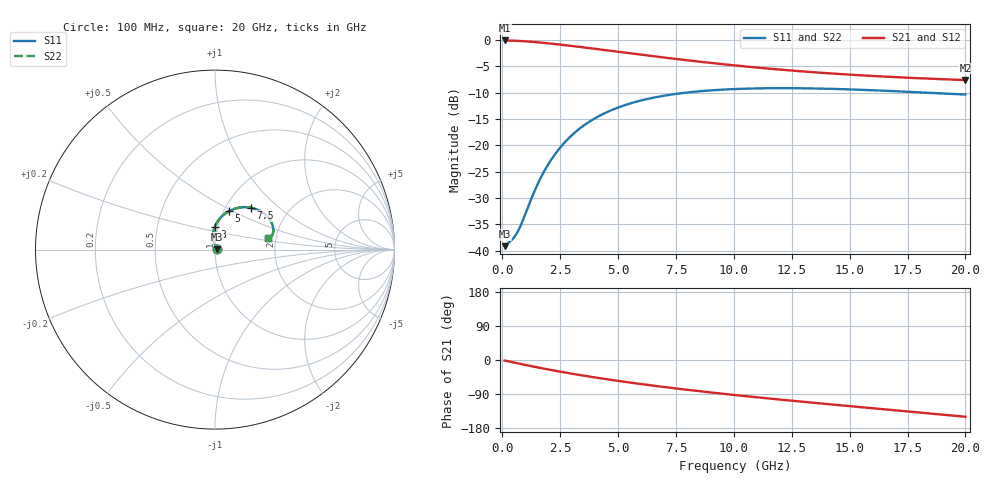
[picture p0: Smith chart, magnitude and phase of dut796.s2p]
! Touchstone file exported from HFSS 2024.1.0
!  File:  C:/UserFiles/LocalFiles/RDL_TSV_Batchsim/temp_RDL_TSV_796_1779909325.aedt
!  Generated:  03:33:14 AM May 28, 2026
!  Design:  RDL_TSV
!  Project:  temp_RDL_TSV_796_1779909325
!  Setup:  Setup1
!  Solution:  Sweep
! Variables:
!  dtsv = 6.59um
!  hbump = 3um
!  htsv = 90.67um
!  ldown = 485.8um
!  lrdl = 104.62um
!  p = 40
!  p1 = 50.86um
!  rhole = 10um
!  subl = 1875.88um
!  t = 450um
!  tdown = 4.55um
!  trdl = 3.39um
!  viad = 10um
!  wdown = 15.04um
!  wrdl = 29.89um
!  xbump = 18um
# GHz S MA R 50.000000
! Terminal data exported
! Port[1] = TM1_1_T1
! Port[2] = TM1_4_T1
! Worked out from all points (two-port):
!   200 points, 100 MHz to 20 GHz, reference 50 ohm
!   highest |S21| = -0.10 dB at 100 MHz (marker M1); lowest = -7.6 dB at 20 GHz (marker M2)
!   |S21| within 3 dB of the highest: start of sweep to 6.551 GHz
!   lowest |S11| = -39.1 dB at 100 MHz (marker M3), VSWR 1.02, Z = 51.1 + j0.216 ohm
!   |S11| at or under -10 dB: start of sweep to 7.925 GHz; 18.3 GHz to end of sweep
!   |S22| runs from -39.1 to -9.1 dB; largest |S21 - S12| = 8.8e-15
!   S11 on the Smith chart (normalised r, x): 100 MHz: 1.02, +0.00; 3 GHz: 0.97, +0.24; 5 GHz: 1.06, +0.48; 7.5 GHz: 1.31, +0.67; 20 GHz: 1.82, +0.25
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0.1  0.01106 11.0  0.9888 -1.4  0.9888 -1.4  0.01106 11.0
! Gamma 0 0 0 0
! Port Impedance 50 0 50 0
0.5  0.01333 46.5  0.9835 -6.7  0.9835 -6.7  0.01333 46.5
0.7  0.01567 63.9  0.9791 -9.3  0.9791 -9.3  0.01567 63.9
1.3  0.03305 94.0  0.9596 -16.8  0.9596 -16.8  0.03305 94.0
1.5  0.04167 97.2  0.9514 -19.3  0.9514 -19.3  0.04167 97.2
1.7  0.05125 98.6  0.9425 -21.7  0.9425 -21.7  0.05125 98.6
2  0.06696 98.5  0.9284 -25.2  0.9284 -25.2  0.06696 98.6
2.5  0.0953 95.5  0.9031 -30.7  0.9031 -30.7  0.09532 95.5
3  0.1246 90.7  0.8769 -36.1  0.8769 -36.1  0.1246 90.8
3.5  0.1533 85.4  0.8504 -41.1  0.8504 -41.1  0.1533 85.5
4.2  0.1908 78.0  0.8136 -47.9  0.8136 -47.9  0.1909 78.0
5  0.2285 69.9  0.7729 -55.1  0.7729 -55.1  0.2286 69.9
5.8  0.26 62.5  0.7342 -61.9  0.7342 -61.9  0.2602 62.5
6.8  0.291 54.3  0.6893 -69.9  0.6893 -69.9  0.2912 54.3
7.5  0.3078 49.2  0.6603 -75.1  0.6603 -75.1  0.3081 49.2
8.8  0.3299 40.9  0.6123 -84.3  0.6123 -84.3  0.3302 41.0
10.1  0.3426 34.0  0.5714 -92.8  0.5714 -92.8  0.343 34.1
11.7  0.3486 27.1  0.5298 -102.7  0.5298 -102.7  0.3491 27.2
13.4  0.3467 21.3  0.4948 -112.7  0.4948 -112.7  0.3472 21.4
15  0.3396 17.2  0.4687 -121.8  0.4687 -121.8  0.3402 17.2
16.7  0.3284 14.0  0.4468 -131.3  0.4468 -131.3  0.329 14.1
20  0.3034 11.8  0.4165 -149.8  0.4165 -149.8  0.3041 11.8
